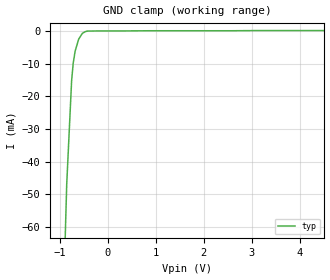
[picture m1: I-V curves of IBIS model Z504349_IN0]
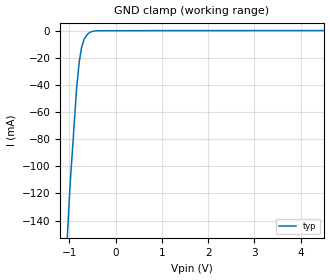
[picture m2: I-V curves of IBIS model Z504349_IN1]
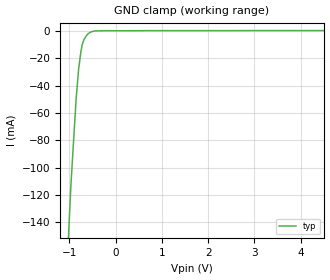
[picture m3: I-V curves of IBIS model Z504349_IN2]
| YOU ARE ONLY AUTHORIZED TO USE THIS SOFTWARE
| ACCORDING TO LICENSOR'S LICENSE RESTRICTIONS.
[IBIS Ver] 3.1
[File Name] mc74lcx573d.ibs
[File Rev] 2.0
[Source] Measured and created by ICX Technology
[Date] Friday 7/14/00 9:08:12 AM
[Copyright]
| (C) COPYRIGHT 1993-2000
| MENTOR GRAPHICS CORPORATION
| ICX STANDARD LIBRARY, ICX PROJECT MODELING,
| ICX CUSTOM MODELING, ICX VENDOR MODEL
| ALL RIGHTS RESERVED.
| THE FOLLOWING ARE TRADEMARKS OR SERVICE MARKS OF
| MENTOR GRAPHICS CORPORATION:ICX (R), ICX STANDARD
| LIBRARY(R), ICX PROJECT MODELING(R), ICX CUSTOM
| MODELING(R), qualityIBIS(TM), MODELVIEWER(TM),
| AND MODELEDITOR(TM)
| ALL COPIES OF SOFTWARE, INCLUDING BUT NOT LIMITED TO
| ANY MODIFICATIONS, ENHANCEMENTS OR DERIVATIVE WORKS,
| MUST CONTAIN ALL MENTOR GRAPHICS CORPORATION'S
| NOTICES AND LEGENDS, INCLUDING THOSE EMBEDDED IN
| SOFTWARE AND THOSE AFFIXED TO SOFTWARE MEDIUM
| AND CONTAINER, AS RECEIVED FROM MENTOR GRAPHICS
| CORPORATION.
|  ZAP Model Builder 2.7
[Component] MC74LCX573D
[Manufacturer] OnSemiconductor
[Package]
| variable   typ   min   max
R_pkg  .178ohms NA NA
L_pkg  4.43nH NA NA
C_pkg  .62pF NA NA
[Pin] signal_name  model_name  R_pin  L_pin C_pin
1 _OE Z504349_IN0 .186 5.37n .68p
2 D0 Z504349_IN1 .182 4.89n .65p
3 D1 Z504349_IN1 .178 4.42n .62p
4 D2 Z504349_IN1 .174 3.96n .59p
5 D3 Z504349_IN1 .17 3.51n .56p
6 D4 Z504349_IN1 .17 3.51n .56p
7 D5 Z504349_IN1 .174 3.96n .59p
8 D6 Z504349_IN1 .178 4.42n .62p
9 D7 Z504349_IN1 .182 4.89n .65p
10 GND GND .186 5.37n .68p
11 LE Z504349_IN2 .186 5.37n .68p
12 Q7 Z504349_TRI .182 4.89n .65p
13 Q6 Z504349_TRI .178 4.42n .62p
14 Q5 Z504349_TRI .174 3.96n .59p
15 Q4 Z504349_TRI .17 3.51n .56p
16 Q3 Z504349_TRI .17 3.51n .56p
17 Q2 Z504349_TRI .174 3.96n .59p
18 Q1 Z504349_TRI .178 4.42n .62p
19 Q0 Z504349_TRI .182 4.89n .65p
20 VCC POWER .186 5.37n .68p
| Models and submodels in the file (4): Z504349_IN0 (Input), Z504349_IN1 (Input), Z504349_IN2 (Input), Z504349_TRI (3-state)
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| (C) COPYRIGHT 1993-2000
| MENTOR GRAPHICS CORPORATION
| ICX STANDARD LIBRARY, ICX PROJECT MODELING,
| ICX CUSTOM MODELING, ICX VENDOR MODEL
| ALL RIGHTS RESERVED.
| THE FOLLOWING ARE TRADEMARKS OR SERVICE MARKS OF
| MENTOR GRAPHICS CORPORATION:ICX (R), ICX STANDARD
| LIBRARY(R), ICX PROJECT MODELING(R), ICX CUSTOM
| MODELING(R), qualityIBIS(TM), MODELVIEWER(TM),
| AND MODELEDITOR(TM)
| ALL COPIES OF SOFTWARE, INCLUDING BUT NOT LIMITED TO
| ANY MODIFICATIONS, ENHANCEMENTS OR DERIVATIVE WORKS,
| MUST CONTAIN ALL MENTOR GRAPHICS CORPORATION'S
| NOTICES AND LEGENDS, INCLUDING THOSE EMBEDDED IN
| SOFTWARE AND THOSE AFFIXED TO SOFTWARE MEDIUM
| AND CONTAINER, AS RECEIVED FROM MENTOR GRAPHICS
| CORPORATION.
| Model Application Version 1.89 2/18/99.
[Model] Z504349_IN0
Model_type Input
Vinl = 800.0mV
Vinh = 2.000V
C_comp 4.000pF NA NA
| variable typ   min   max
[Voltage Range] 3.300V NA NA
[GND Clamp Reference] 0.000V NA NA
[POWER Clamp Reference] 3.300V NA NA
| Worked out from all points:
|   GND clamp passes 1 mA (typ) near -0.55 V on its own axis
[GND Clamp]
-3.3V     -1.621A    NA         NA
-1.012V   -127.7mA   NA         NA
-857.5mV  -47.02mA   NA         NA
-755.2mV  -15.17mA   NA         NA
-721.9mV  -9.799mA   NA         NA
-681.9mV  -6.106mA   NA         NA
-607.8mV  -2.419mA   NA         NA
-531.8mV  -650.3uA   NA         NA
-468.4mV  -108.7uA   NA         NA
884.9mV   150.6uA    NA         NA
6.6V      210.5uA    NA         NA
[POWER Clamp]
-3.3V     0A         NA         NA
6.6V      0A         NA         NA
| (C) COPYRIGHT 1993-2000
| MENTOR GRAPHICS CORPORATION
| ICX STANDARD LIBRARY, ICX PROJECT MODELING,
| ICX CUSTOM MODELING, ICX VENDOR MODEL
| ALL RIGHTS RESERVED.
| THE FOLLOWING ARE TRADEMARKS OR SERVICE MARKS OF
| MENTOR GRAPHICS CORPORATION:ICX (R), ICX STANDARD
| LIBRARY(R), ICX PROJECT MODELING(R), ICX CUSTOM
| MODELING(R), qualityIBIS(TM), MODELVIEWER(TM),
| AND MODELEDITOR(TM)
| ALL COPIES OF SOFTWARE, INCLUDING BUT NOT LIMITED TO
| ANY MODIFICATIONS, ENHANCEMENTS OR DERIVATIVE WORKS,
| MUST CONTAIN ALL MENTOR GRAPHICS CORPORATION'S
| NOTICES AND LEGENDS, INCLUDING THOSE EMBEDDED IN
| SOFTWARE AND THOSE AFFIXED TO SOFTWARE MEDIUM
| AND CONTAINER, AS RECEIVED FROM MENTOR GRAPHICS
| CORPORATION.
| Model Application Version 1.89 2/18/99.
[Model] Z504349_IN1
Model_type Input
Vinl = 800.0mV
Vinh = 2.000V
C_comp 4.000pF NA NA
| variable typ   min   max
[Voltage Range] 3.300V NA NA
[GND Clamp Reference] 0.000V NA NA
[POWER Clamp Reference] 3.300V NA NA
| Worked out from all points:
|   GND clamp passes 1 mA (typ) near -0.55 V on its own axis
[GND Clamp]
-3.3V     -1.597A    NA         NA
-984.6mV  -113.3mA   NA         NA
-842.8mV  -41.75mA   NA         NA
-785.4mV  -22.44mA   NA         NA
-738mV    -12.4mA    NA         NA
-681.6mV  -6.155mA   NA         NA
-607.6mV  -2.448mA   NA         NA
-550.2mV  -983.7uA   NA         NA
-429.5mV  37.65uA    NA         NA
-214.8mV  105.9uA    NA         NA
6.6V      204.8uA    NA         NA
[POWER Clamp]
-3.3V     0A         NA         NA
6.6V      0A         NA         NA
| (C) COPYRIGHT 1993-2000
| MENTOR GRAPHICS CORPORATION
| ICX STANDARD LIBRARY, ICX PROJECT MODELING,
| ICX CUSTOM MODELING, ICX VENDOR MODEL
| ALL RIGHTS RESERVED.
| THE FOLLOWING ARE TRADEMARKS OR SERVICE MARKS OF
| MENTOR GRAPHICS CORPORATION:ICX (R), ICX STANDARD
| LIBRARY(R), ICX PROJECT MODELING(R), ICX CUSTOM
| MODELING(R), qualityIBIS(TM), MODELVIEWER(TM),
| AND MODELEDITOR(TM)
| ALL COPIES OF SOFTWARE, INCLUDING BUT NOT LIMITED TO
| ANY MODIFICATIONS, ENHANCEMENTS OR DERIVATIVE WORKS,
| MUST CONTAIN ALL MENTOR GRAPHICS CORPORATION'S
| NOTICES AND LEGENDS, INCLUDING THOSE EMBEDDED IN
| SOFTWARE AND THOSE AFFIXED TO SOFTWARE MEDIUM
| AND CONTAINER, AS RECEIVED FROM MENTOR GRAPHICS
| CORPORATION.
| Model Application Version 1.89 2/18/99.
[Model] Z504349_IN2
Model_type Input
Vinl = 800.0mV
Vinh = 2.000V
C_comp 4.000pF NA NA
| variable typ   min   max
[Voltage Range] 3.300V NA NA
[GND Clamp Reference] 0.000V NA NA
[POWER Clamp Reference] 3.300V NA NA
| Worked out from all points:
|   GND clamp passes 1 mA (typ) near -0.55 V on its own axis
[GND Clamp]
-3.3V     -1.794A    NA         NA
-966.7mV  -112.4mA   NA         NA
-854.3mV  -49.7mA    NA         NA
-800.3mV  -27.86mA   NA         NA
-753.6mV  -15.72mA   NA         NA
-722.4mV  -9.931mA   NA         NA
-682mV    -6.126mA   NA         NA
-625mV    -3.08mA    NA         NA
-532.2mV  -658.7uA   NA         NA
-449.3mV  28.38uA    NA         NA
-224.6mV  170.8uA    NA         NA
6.6V      290.4uA    NA         NA
[POWER Clamp]
-3.3V     0A         NA         NA
6.6V      0A         NA         NA
